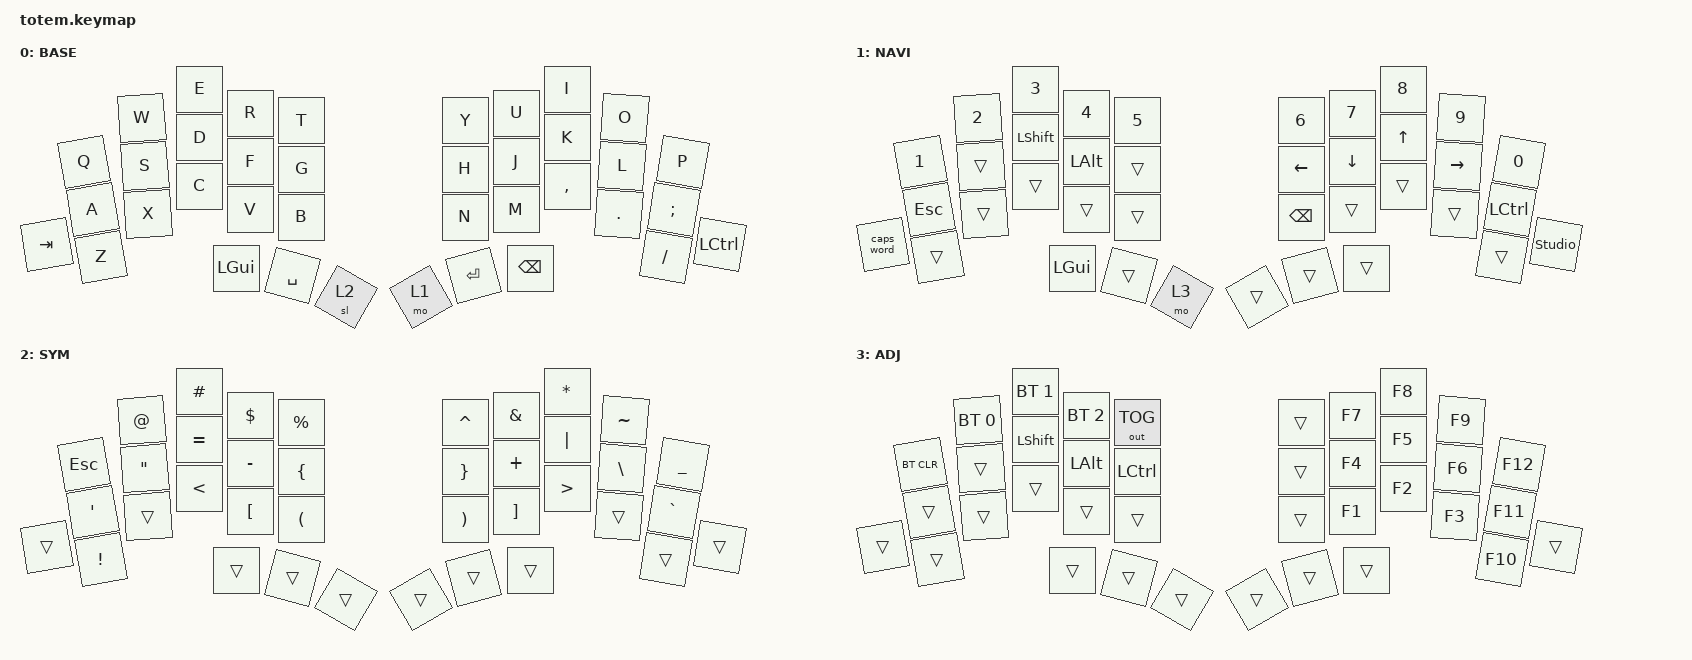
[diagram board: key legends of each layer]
//
//                                                        ▀▀▀▀▀     ▀▀▀▀▀          ▀▀█▀▀
//                                                        ▄▀▀▀▄  ▄  ▄▀▀▀▄  ▄  ▄▀▀▀▄  █  ▄▀▀▀▄
//                                                        █   █  █  █   █  █  █   █  █  █   █
//                                                         ▀▀▀   █   ▀▀▀   █   ▀▀▀   ▀   ▀▀▀
//                                                               █      ▄▄▄█▄▄▄    █   █
//                                                               ▀      █  █  █     █▄█
//                                                             ▀▀▀▀▀    █  █  █      ▀
//                                                                      ▀  ▀  ▀
//
// ▄▄▄▄▄▄▄▄▄▄▄▄▄▄▄▄▄▄▄▄▄▄▄▄▄▄▄▄▄▄▄▄▄▄▄▄▄▄▄▄▄▄▄▄▄▄▄▄▄▄▄▄▄▄▄▄▄▄▄▄▄▄▄▄▄▄▄▄▄▄▄▄▄▄▄▄▄▄▄▄▄▄▄▄▄▄▄▄▄▄▄▄▄▄▄▄▄▄▄▄▄▄▄▄▄▄▄▄▄▄▄▄▄▄▄▄▄▄▄▄▄▄▄▄▄▄▄▄▄▄▄▄▄▄▄▄▄▄▄▄▄▄▄▄▄▄▄▄▄

#include <behaviors.dtsi>
#include <dt-bindings/zmk/bt.h>
#include <dt-bindings/zmk/keys.h>
#include <dt-bindings/zmk/outputs.h>

#define BASE 0
#define NAV  1
#define SYM  2
#define ADJ  3

/ {
    combos {
        compatible = "zmk,combos";

        combo_esc {
            timeout-ms = <50>;
            key-positions = <12 13>;
            bindings = <&kp ESC>;
        };
    };

    keymap {
        compatible = "zmk,keymap";

        // ▄▄▄▄▄▄▄▄▄▄▄▄▄▄▄▄▄▄▄▄▄▄▄▄▄▄▄▄▄▄▄▄▄▄▄▄▄▄▄▄▄▄▄▄▄▄▄▄▄▄▄▄▄▄▄▄▄▄▄▄▄▄▄▄▄▄▄▄▄▄▄▄▄▄▄▄▄▄▄▄▄▄▄▄▄▄▄▄▄▄▄▄▄▄▄▄▄▄▄▄▄▄▄▄▄▄▄▄▄▄▄▄▄▄▄▄▄▄▄▄▄▄▄▄▄▄▄▄▄▄▄▄▄▄▄▄▄▄▄▄▄▄▄▄▄▄▄▄▄

        base_layer {
            // ┏━━━━━━━━━━━━━━━━━━━━━━━━━━━━━━━━━━━━━━━┓

            label = "BASE";

            // ┗━━━━━━━━━━━━━━━━━━━━━━━━━━━━━━━━━━━━━━━┛
            //             ┏━━━━━━━━━━━┳━━━━━━━━━━━┳━━━━━━━━━━━┳━━━━━━━━━━━┳━━━━━━━━━━━┓   ┏━━━━━━━━━━━┳━━━━━━━━━━━┳━━━━━━━━━━━┳━━━━━━━━━━━┳━━━━━━━━━━━┓
            //             ┃     Q     ┃     W     ┃     E     ┃     R     ┃     T     ┃   ┃     Y     ┃     U     ┃     I     ┃     O     ┃     P     ┃
            //             ┣━━━━━━━━━━━╋━━━━━━━━━━━╋━━━━━━━━━━━╋━━━━━━━━━━━╋━━━━━━━━━━━┫   ┣━━━━━━━━━━━╋━━━━━━━━━━━╋━━━━━━━━━━━╋━━━━━━━━━━━╋━━━━━━━━━━━┫
            //             ┃     A     ┃     S     ┃     D     ┃     F     ┃     G     ┃   ┃     H     ┃     J     ┃     K     ┃     L     ┃     ;     ┃
            // ┏━━━━━━━━━━━╋━━━━━━━━━━━╋━━━━━━━━━━━╋━━━━━━━━━━━╋━━━━━━━━━━━╋━━━━━━━━━━━┫   ┣━━━━━━━━━━━╋━━━━━━━━━━━╋━━━━━━━━━━━╋━━━━━━━━━━━╋━━━━━━━━━━━╋━━━━━━━━━━━┓
            // ┃     Z     ┃     Z     ┃     X     ┃     C     ┃     V     ┃     B     ┃   ┃     N     ┃     M     ┃     ,     ┃     .     ┃     /     ┃     /     ┃
            // ┗━━━━━━━━━━━┻━━━━━━━━━━━┻━━━━━━━━━━━╋━━━━━━━━━━━╋━━━━━━━━━━━╋━━━━━━━━━━━┫   ┣━━━━━━━━━━━╋━━━━━━━━━━━╋━━━━━━━━━━━╋━━━━━━━━━━━┻━━━━━━━━━━━┻━━━━━━━━━━━┛
            //                                     ┃    TAB    ┃    TAB    ┃  NAV/SPC  ┃   ┃  SYM/RET  ┃   BSPC    ┃   BSPC    ┃
            //                                     ┗━━━━━━━━━━━┻━━━━━━━━━━━┻━━━━━━━━━━━┛   ┗━━━━━━━━━━━┻━━━━━━━━━━━┻━━━━━━━━━━━┛

            bindings = <
         &kp Q  &kp W  &kp E         &kp R      &kp T    &kp Y  &kp U      &kp I      &kp O    &kp P
         &kp A  &kp S  &kp D         &kp F      &kp G    &kp H  &kp J      &kp K      &kp L    &kp SEMI
&kp TAB  &kp Z  &kp X  &kp C         &kp V      &kp B    &kp N  &kp M      &kp COMMA  &kp DOT  &kp FSLH  &kp LEFT_CONTROL
                       &kp LEFT_GUI  &kp SPACE  &sl 2    &mo 1  &kp ENTER  &kp BSPC
            >;
        };

        // ▄▄▄▄▄▄▄▄▄▄▄▄▄▄▄▄▄▄▄▄▄▄▄▄▄▄▄▄▄▄▄▄▄▄▄▄▄▄▄▄▄▄▄▄▄▄▄▄▄▄▄▄▄▄▄▄▄▄▄▄▄▄▄▄▄▄▄▄▄▄▄▄▄▄▄▄▄▄▄▄▄▄▄▄▄▄▄▄▄▄▄▄▄▄▄▄▄▄▄▄▄▄▄▄▄▄▄▄▄▄▄▄▄▄▄▄▄▄▄▄▄▄▄▄▄▄▄▄▄▄▄▄▄▄▄▄▄▄▄▄▄▄▄▄▄▄▄▄▄

        nav_layer {
            // ┏━━━━━━━━━━━━━━━━━━━━━━━━━━━━━━━━━━━━━━━┓

            label = "NAVI";

            // ┗━━━━━━━━━━━━━━━━━━━━━━━━━━━━━━━━━━━━━━━┛

            bindings = <
            &kp N1   &kp N2  &kp N3        &kp N4    &kp N5    &kp N6         &kp N7    &kp N8  &kp N9     &kp N0
            &kp ESC  &trans  &kp LSHFT     &kp LALT  &trans    &kp LEFT       &kp DOWN  &kp UP  &kp RIGHT  &kp LCTRL
&caps_word  &trans   &trans  &trans        &trans    &trans    &kp BACKSPACE  &trans    &trans  &trans     &trans     &studio_unlock
                             &kp LEFT_GUI  &trans    &mo 3     &trans         &trans    &trans
            >;
        };

        // ▄▄▄▄▄▄▄▄▄▄▄▄▄▄▄▄▄▄▄▄▄▄▄▄▄▄▄▄▄▄▄▄▄▄▄▄▄▄▄▄▄▄▄▄▄▄▄▄▄▄▄▄▄▄▄▄▄▄▄▄▄▄▄▄▄▄▄▄▄▄▄▄▄▄▄▄▄▄▄▄▄▄▄▄▄▄▄▄▄▄▄▄▄▄▄▄▄▄▄▄▄▄▄▄▄▄▄▄▄▄▄▄▄▄▄▄▄▄▄▄▄▄▄▄▄▄▄▄▄▄▄▄▄▄▄▄▄▄▄▄▄▄▄▄▄▄▄▄▄

        sym_layer {
            // ┏━━━━━━━━━━━━━━━━━━━━━━━━━━━━━━━━━━━━━━━┓

            label = "SYM";

            // ┗━━━━━━━━━━━━━━━━━━━━━━━━━━━━━━━━━━━━━━━┛

            bindings = <
        &kp ESC   &kp AT   &kp HASH   &kp DLLR   &kp PRCNT    &kp CARET  &kp AMPS  &kp ASTRK  &kp TILDE  &kp UNDER
        &kp SQT   &kp DQT  &kp EQUAL  &kp MINUS  &kp LBRC     &kp RBRC   &kp PLUS  &kp PIPE   &kp BSLH   &kp GRAVE
&trans  &kp EXCL  &trans   &kp LT     &kp LBKT   &kp LPAR     &kp RPAR   &kp RBKT  &kp GT     &trans     &trans     &trans
                           &trans     &trans     &trans       &trans     &trans    &trans
            >;
        };

        // ▄▄▄▄▄▄▄▄▄▄▄▄▄▄▄▄▄▄▄▄▄▄▄▄▄▄▄▄▄▄▄▄▄▄▄▄▄▄▄▄▄▄▄▄▄▄▄▄▄▄▄▄▄▄▄▄▄▄▄▄▄▄▄▄▄▄▄▄▄▄▄▄▄▄▄▄▄▄▄▄▄▄▄▄▄▄▄▄▄▄▄▄▄▄▄▄▄▄▄▄▄▄▄▄▄▄▄▄▄▄▄▄▄▄▄▄▄▄▄▄▄▄▄▄▄▄▄▄▄▄▄▄▄▄▄▄▄▄▄▄▄▄▄▄▄▄▄▄▄

        adjust_layer {
            // ┏━━━━━━━━━━━━━━━━━━━━━━━━━━━━━━━━━━━━━━━┓

            label = "ADJ";

            // ┗━━━━━━━━━━━━━━━━━━━━━━━━━━━━━━━━━━━━━━━┛

            bindings = <
        &bt BT_CLR  &bt BT_SEL 0  &bt BT_SEL 1  &bt BT_SEL 2  &out OUT_TOG    &trans  &kp F7  &kp F8  &kp F9  &kp F12
        &trans      &trans        &kp LSHFT     &kp LALT      &kp LCTRL       &trans  &kp F4  &kp F5  &kp F6  &kp F11
&trans  &trans      &trans        &trans        &trans        &trans          &trans  &kp F1  &kp F2  &kp F3  &kp F10  &trans
                                  &trans        &trans        &trans          &trans  &trans  &trans
            >;
        };
    };
};
